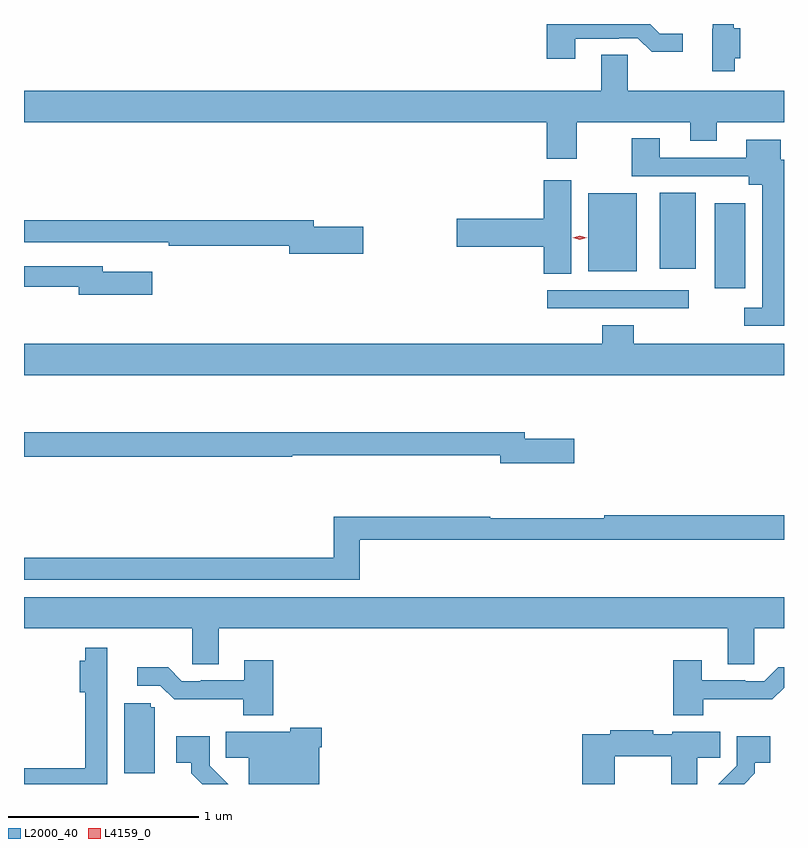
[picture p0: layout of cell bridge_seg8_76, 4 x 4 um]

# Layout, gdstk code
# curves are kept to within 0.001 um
import gdstk
lib = gdstk.Library(unit=1e-6, precision=1e-09)
def R(c, l, rs):  # rectangles x0, y0, x1, y1
    for r in rs: c.add(gdstk.rectangle(r[:2], r[2:], *l))
def P(c, l, *ps):  # polygons
    for p in ps: c.add(gdstk.Polygon(p, *l))
L2000_40 = (2000, 40)
L4159_0 = (4159, 0)

bridge_seg8_76 = lib.new_cell('bridge_seg8_76')
R(bridge_seg8_76, L2000_40, [(986.547,1104.864,987.292,1104.96), (987.428,1104.969,987.589,1105.417), (986.762,1105.058,987.019,1105.468), (987.14,1105.073,987.328,1105.471)])
P(bridge_seg8_76, L2000_40, [(987.533,1106.18),(987.563,1106.18),(987.563,1106.338),(987.529,1106.338),(987.529,1106.36),(987.417,1106.36),(987.417,1106.334),(987.416,1106.334),(987.416,1106.112),(987.533,1106.112)],
  [(986.695,1106.283),(986.924,1106.283),(986.924,1106.286),(987.024,1106.286),(987.097,1106.213),(987.259,1106.213),(987.259,1106.31),(987.138,1106.31),(987.088,1106.36),(986.543,1106.36),(986.543,1106.178),(986.695,1106.178)],
  [(986.703,1105.844),(987.299,1105.844),(987.299,1105.745),(987.439,1105.745),(987.439,1105.844),(987.793,1105.844),(987.793,1106.008),(986.97,1106.008),(986.97,1106.198),(986.831,1106.198),(986.831,1106.008),(983.793,1106.008),(983.793,1105.844),(986.543,1105.844),(986.543,1105.65),(986.703,1105.65)],
  [(987.793,1105.646),(987.775,1105.646),(987.775,1105.75),(987.593,1105.75),(987.593,1105.656),(987.139,1105.656),(987.139,1105.759),(986.992,1105.759),(986.992,1105.56),(987.608,1105.56),(987.608,1105.514),(987.678,1105.514),(987.678,1104.867),(987.585,1104.867),(987.585,1104.771),(987.793,1104.771)],
  [(986.674,1105.537),(986.528,1105.537),(986.528,1105.334),(986.07,1105.334),(986.07,1105.187),(986.528,1105.187),(986.528,1105.045),(986.674,1105.045)],
  [(985.579,1105.292),(985.318,1105.292),(985.318,1105.328),(983.793,1105.328),(983.793,1105.212),(984.304,1105.212),(984.304,1105.211),(984.556,1105.211),(984.556,1105.192),(985.19,1105.192),(985.19,1105.15),(985.579,1105.15)],
  [(984.469,1105.057),(984.208,1105.057),(984.208,1105.086),(983.793,1105.086),(983.793,1104.978),(984.08,1104.978),(984.08,1104.935),(984.469,1104.935)],
  [(987.793,1104.676),(987.002,1104.676),(987.002,1104.775),(986.837,1104.775),(986.837,1104.676),(983.793,1104.676),(983.793,1104.512),(987.793,1104.512)],
  [(986.689,1104.177),(986.428,1104.177),(986.428,1104.211),(983.793,1104.211),(983.793,1104.082),(985.204,1104.082),(985.204,1104.09),(986.3,1104.09),(986.3,1104.047),(986.689,1104.047)],
  [(985.559,1103.646),(987.793,1103.646),(987.793,1103.774),(986.846,1103.774),(986.846,1103.759),(986.246,1103.759),(986.246,1103.767),(985.423,1103.767),(985.423,1103.552),(983.793,1103.552),(983.793,1103.436),(985.559,1103.436)],
  [(984.817,1103.18),(987.497,1103.18),(987.497,1102.99),(987.636,1102.99),(987.636,1103.18),(987.793,1103.18),(987.793,1103.344),(983.793,1103.344),(983.793,1103.18),(984.678,1103.18),(984.678,1102.99),(984.817,1102.99)],
  [(984.231,1102.854),(984.232,1102.854),(984.232,1103.077),(984.115,1103.077),(984.115,1103.008),(984.086,1103.008),(984.086,1102.843),(984.115,1102.843),(984.115,1102.442),(983.793,1102.442),(983.793,1102.36),(984.231,1102.36)],
  [(985.106,1103.011),(984.953,1103.011),(984.953,1102.905),(984.724,1102.905),(984.724,1102.902),(984.624,1102.902),(984.551,1102.975),(984.39,1102.975),(984.39,1102.878),(984.51,1102.878),(984.583,1102.805),(984.946,1102.806),(984.946,1102.721),(985.106,1102.721)],
  [(987.369,1102.806),(987.731,1102.805),(987.793,1102.867),(987.793,1102.975),(987.763,1102.975),(987.69,1102.902),(987.59,1102.902),(987.59,1102.905),(987.361,1102.905),(987.361,1103.011),(987.209,1103.011),(987.209,1102.721),(987.369,1102.721)],
  [(984.481,1102.764),(984.459,1102.764),(984.459,1102.785),(984.32,1102.785),(984.32,1102.416),(984.481,1102.416)],
  [(985.348,1102.553),(985.361,1102.553),(985.361,1102.657),(985.194,1102.657),(985.194,1102.636),(984.856,1102.636),(984.856,1102.498),(984.977,1102.498),(984.977,1102.36),(985.348,1102.36)],
  [(986.902,1102.507),(987.2,1102.507),(987.2,1102.36),(987.337,1102.36),(987.337,1102.498),(987.458,1102.498),(987.458,1102.636),(987.204,1102.636),(987.204,1102.623),(987.104,1102.623),(987.104,1102.643),(986.878,1102.643),(986.878,1102.623),(986.732,1102.623),(986.732,1102.36),(986.902,1102.36)],
  [(984.771,1102.457),(984.771,1102.612),(984.594,1102.612),(984.594,1102.472),(984.674,1102.472),(984.674,1102.417),(984.732,1102.36),(984.868,1102.36)],
  [(987.64,1102.417),(987.64,1102.472),(987.721,1102.472),(987.721,1102.612),(987.543,1102.612),(987.543,1102.457),(987.446,1102.36),(987.583,1102.36)])
P(bridge_seg8_76, L4159_0, [(986.717,1105.225),(986.68,1105.235),(986.68,1105.235),(986.68,1105.235),(986.717,1105.245),(986.754,1105.236),(986.755,1105.235),(986.754,1105.235)])

lib.write_gds('bridge_seg8_76.gds')
